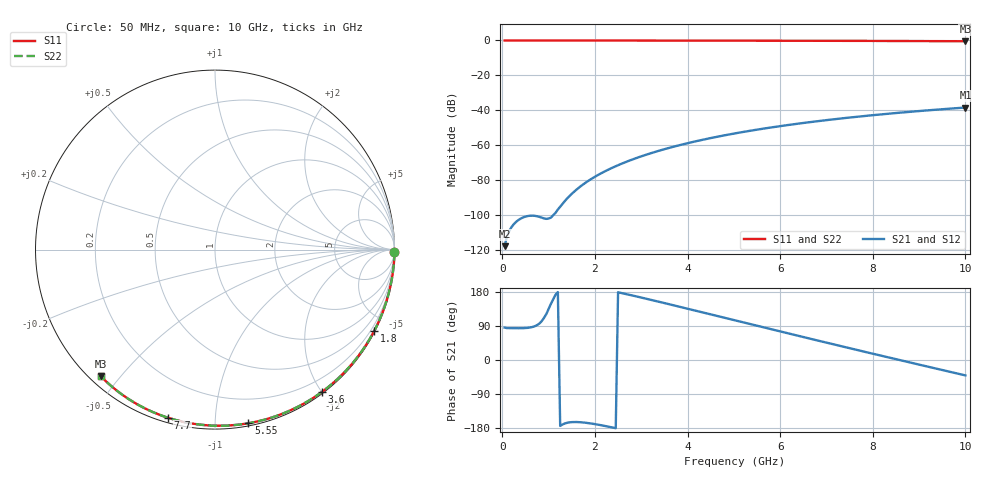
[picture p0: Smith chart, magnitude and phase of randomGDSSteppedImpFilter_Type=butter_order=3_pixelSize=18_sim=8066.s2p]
! freq	dB(S11)	phase(S11)	dB(S12)	phase(S12)
!  dB(S21)	phase(S21)	dB(S22)	phase(S22)
!S-par simulation data
#  GHz  S  DB  R 50
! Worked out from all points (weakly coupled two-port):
!   200 points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, 50 MHz to 10 GHz, reference 50 ohm
!   highest |S21| = -38.35 dB at 10 GHz (marker M1); lowest = -117.6 dB at 50 MHz (marker M2)
!   lowest |S11| = -0.4 dB at 10 GHz (marker M3), VSWR 38.93, Z = 1.54 - j22.2 ohm
!   |S11| at or under -10 dB: nowhere
!   |S22| runs from -0.4 to 0.0 dB; largest |S21 - S12| = 0
!   S11 on the Smith chart (normalised r, x): 50 MHz: open; 1.8 GHz: 0.04, -4.15; 3.6 GHz: 0.02, -2.01; 5.55 GHz: 0.02, -1.21; 7.7 GHz: 0.02, -0.76; 10 GHz: 0.03, -0.44
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0.05  -0.00 -0.8  -117.61 85.4  -117.61 85.4  -0.00 -0.8
0.9  -0.02 -13.7  -101.72 111.1  -101.72 111.1  -0.02 -13.7
1.75  -0.03 -26.4  -82.22 -164.9  -82.22 -164.9  -0.03 -26.4
1.8  -0.03 -27.1  -81.29 -165.6  -81.29 -165.6  -0.03 -27.1
1.85  -0.04 -27.8  -80.40 -166.4  -80.40 -166.4  -0.04 -27.8
1.9  -0.04 -28.6  -79.54 -167.2  -79.54 -167.2  -0.04 -28.6
2.05  -0.04 -30.8  -77.16 -170.2  -77.16 -170.2  -0.04 -30.8
2.25  -0.04 -33.7  -74.36 -174.9  -74.36 -174.9  -0.04 -33.7
2.45  -0.05 -36.6  -71.89 -180.0  -71.89 -180.0  -0.05 -36.6
2.65  -0.05 -39.5  -69.67 174.7  -69.67 174.7  -0.05 -39.5
3  -0.06 -44.5  -66.26 164.8  -66.26 164.8  -0.06 -44.5
3.4  -0.07 -50.2  -62.92 153.2  -62.92 153.2  -0.07 -50.2
3.6  -0.07 -53.0  -61.43 147.3  -61.43 147.3  -0.07 -53.0
4.3  -0.09 -62.6  -56.93 126.4  -56.93 126.4  -0.09 -62.6
5.05  -0.11 -72.6  -53.01 103.9  -53.01 103.9  -0.11 -72.6
5.55  -0.13 -79.1  -50.78 88.9  -50.78 88.9  -0.13 -79.1
6.1  -0.15 -86.1  -48.60 72.4  -48.60 72.4  -0.15 -86.1
6.7  -0.18 -93.6  -46.50 54.6  -46.50 54.6  -0.18 -93.6
7.7  -0.24 -105.6  -43.52 25.3  -43.52 25.3  -0.24 -105.6
8.35  -0.29 -113.3  -41.85 6.5  -41.85 6.5  -0.29 -113.3
9.15  -0.36 -122.5  -40.03 -16.4  -40.03 -16.4  -0.36 -122.5
10  -0.45 -132.2  -38.35 -40.6  -38.35 -40.6  -0.45 -132.1
